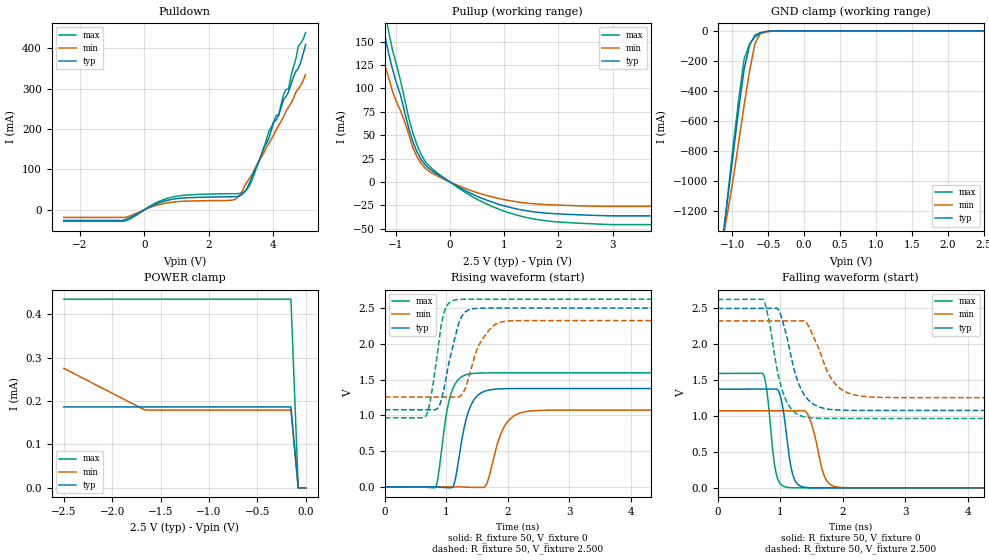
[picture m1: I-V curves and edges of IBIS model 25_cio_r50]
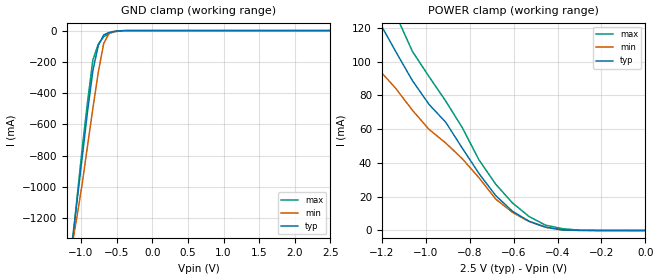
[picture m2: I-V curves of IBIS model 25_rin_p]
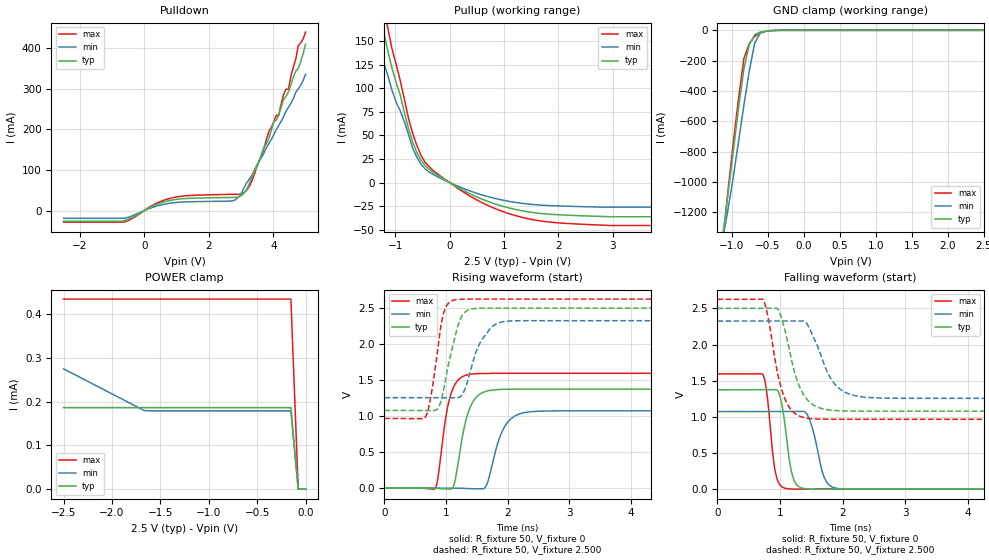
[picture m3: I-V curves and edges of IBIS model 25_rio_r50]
[IBIS Ver]   4.2
[File Name]  projekt_na_vhdl-a.ibs
[File Rev]   3.0
[Date]   July 09, 2019
[Source]   Altera Corporation
[Notes]   - The models are designated as "Final" and have been correlated against physical device operation.
   - This IBIS model is checked using IBISCHK v5.0.4
   There are no known errors and warnings reported.
   - There are no known limitations for this IBIS model release.
   - Contact point: Altera Corporation, http://www.altera.com/corporate/contact/con-index.html
   - This file is generated using Quartus II Version 18.1.0 Build 625 09/12/2018 SJ Lite Edition
   - Unused IOs which have been assigned as tri-stated inputs or as outputs driving any signal in Quartus II
   arerepresented by the NC.
   - Only general purpose IBIS models are supported.
   Revision History
   - v1.0
   - Initial release of MAX 10 IBIS models. Models are based on pre-layout and early engineering info.
   - v2.0
   - Models are based on post-layout, may be missing certain features.
   - v3.0
   - Models have undergone final correlation against physical device operation.
[Disclaimer] Data is for modeling purposes only and is not guaranteed.
[Copyright]  Copyright (C) 2018  Intel Corporation. All rights reserved.
[Component]  10M08DAF256C8G_projekt_na_vhdl-a
[Manufacturer] Altera Corporation
[Package]
| RLC values are for 256 FBGA package
| variable  typ   min   max
R_pkg   445m   318m   697m
L_pkg   3.71nH   3.07nH   6.14nH
C_pkg   1.00pF   0.87pF   1.64pF
[Pin] signal_name   model_name   R_pin   L_pin   C_pin
A1   GND   GND
A16   GND   GND
B14   GND   GND
B15   FASTER   25_rin_p   697.2m   5.572nH   1.598pF
B16   SLOWER   25_rin_p   692.4m   5.384nH   1.638pF
C11   GND   GND
C7   VCCIO8   POWER
C8   GND   GND
D10   VCCIO7   POWER
D11   VCCIO7   POWER
D13   VCCD_PLL2   POWER
D3   GND   GND
D5   VCCA3   POWER
D6   GND   GND
D7   VCCIO8   POWER
D8   VCCIO8   POWER
E12   VCCA2   POWER
E13   GND   GND
E5   VCCA_ADC   POWER
E6   GND   GND
F13   VCCIO6   POWER
F15   GND   GND
F16   INPUT[7]   25_rin_p   447.6m   3.682nH   0.995pF
F6   VCCINT   POWER
G10   GND   GND
G13   VCCIO6   POWER
G15   INPUT[5]   25_rin_p   318.1m   3.178nH   0.947pF
G16   INPUT[6]   25_rin_p   426.6m   3.599nH   0.951pF
G3   GND   GND
G4   VCCIO1A   POWER
G7   VCC   POWER
G8   GND   GND
G9   VCC   POWER
H10   VCC   POWER
H13   VCCIO6   POWER
H14   GND   GND
H15   INPUT[3]   25_rin_p   392.2m   3.711nH   0.977pF
H16   INPUT[4]   25_rin_p   430.1m   3.578nH   0.897pF
H4   VCCIO1A   POWER
H7   GND   GND
H8   VCC   POWER
H9   VCC   POWER
J1   V_SYNC   25_rio_r50_vref   467.4m   4.480nH   0.980pF
J10   GND   GND
J13   VCCIO6   POWER
J15   INPUT[1]   25_rin_p   346.1m   3.066nH   0.955pF
J16   INPUT[2]   25_rin_p   354.1m   3.589nH   0.874pF
J4   VCCIO1B   POWER
J7   VCC   POWER
J8   VCC   POWER
J9   VCC   POWER
K1   GND   GND
K10   VCC   POWER
K13   VCCIO5   POWER
K16   GND   GND
K3   GND   GND
K4   VCCIO2   POWER
K7   GND   GND
K8   VCC   POWER
K9   GND   GND
L1   H_SYNC   25_rio_r50   446.0m   3.420nH   1.040pF
L13   VCCIO5   POWER
L14   GND   GND
L16   INPUT[0]   25_rin_p   442.0m   4.301nH   0.998pF
L3   OSC_IN   25_rin_p   358.0m   3.293nH   1.187pF
L4   VCCIO2   POWER
L5   VCCA1   POWER
M1   RGB[2]   25_rio_r50_vref   474.8m   4.468nH   1.018pF
M12   VCCA4   POWER
M13   VCCIO5   POWER
M4   GND   GND
M5   VCCD_PLL1   POWER
N1   RGB[1]   25_rio_r50   510.1m   4.657nH   1.057pF
N10   VCCIO4   POWER
N11   VCCIO4   POWER
N12   GND   GND
N15   GND   GND
N6   VCCIO3   POWER
N7   VCCIO3   POWER
N8   VCCIO3   POWER
N9   GND   GND
P3   GND   GND
P7   GND   GND
R1   RGB[0]   25_cio_r50   604.7m   5.617nH   1.308pF
R13   GND   GND
R15   nRST   25_rin_p   692.6m   6.144nH   1.433pF
T1   GND   GND
T10   GND   GND
T16   GND   GND
| Models and submodels in the file (4): 25_cio_r50 (I/O), 25_rin_p (Input), 25_rio_r50 (I/O), 25_rio_r50_vref (I/O)
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|MODEL 25_cio_r50
[Model]   25_cio_r50
Model_type   I/O
Polarity   Non-Inverting
Enable Active-Low
Vinl   = 0.700
Vinh   = 1.700
Vmeas  = 1.250
Rref   = 10M
Cref   = 0pF
Vref   = 0.000
C_comp 4.5pF   4.5pF   4.5pF
[Model Spec]
Vinh   1.700   1.700   1.700
Vinl   0.700   0.700   0.700
[Temperature Range]   25   85   0
[Voltage Range]   2.500   2.325   2.625
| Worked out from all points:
|   slope of the pulldown table from 0 to 0.375 V, typ, clamps not added: 25.2 ohm
|   slope of the pullup table from 0 to 0.375 V, typ, clamps not added: 31.4 ohm
|   GND clamp passes 1 mA (typ) near -0.44 V on its own axis
|   rising waveform, R_fixture 50, V_fixture 0: 20-80 % time 199ps typ, 236ps min, 173ps max; typ from 0 V to 1.37 V
|   falling waveform, R_fixture 50, V_fixture 0: 20-80 % time 131ps typ, 173ps min, 112ps max; typ from 1.37 V to 0 V
|   rising waveform, R_fixture 50, V_fixture 2.500: 20-80 % time 219ps typ, 280ps min, 165ps max; typ from 1.08 V to 2.5 V
|   falling waveform, R_fixture 50, V_fixture 2.500: 20-80 % time 268ps typ, 330ps min, 229ps max; typ from 2.5 V to 1.08 V
[GND Clamp]
| voltage   I (typ)   I (min)   I (max)
-2.5V     -5.91A     -5.039A    -6.902A
-1.136V   -1.393A    -1.403A    -1.443A
-1.061V   -1.109A    -1.2A      -1.09A
-984.9mV  -816.5mA   -983.3mA   -759.1mA
-909.1mV  -519.5mA   -738.6mA   -457.9mA
-833.3mV  -255.4mA   -496mA     -186.8mA
-757.6mV  -94.85mA   -265.8mA   -87.18mA
-681.8mV  -28.16mA   -82.51mA   -39.36mA
-606.1mV  -11.9mA    -18.11mA   -18.07mA
-530.3mV  -4.732mA   -5.387mA   -7.206mA
-454.6mV  -1.272mA   -1.238mA   -2.74mA
2.5V      0A         0A         0A
[Pulldown]
| voltage   I (typ)   I (min)   I (max)
-2.5V     -26.09mA   -18.87mA   -28.49mA
-606.1mV  -24.69mA   -18.87mA   -27.68mA
833.3mV   25.48mA    18.54mA    30.82mA
2.727V    32.32mA    24.06mA    39.97mA
3.106V    43.99mA    58.19mA    45.13mA
3.333V    81.23mA    86.79mA    72.31mA
3.864V    178.1mA    165.1mA    195.2mA
4.167V    234.9mA    209.3mA    234.5mA
4.318V    273.2mA    231mA      285.5mA
4.47V     292mA      254mA      298.8mA
4.773V    350.2mA    299.3mA    405.3mA
5V        409.7mA    335.3mA    439.3mA
[Power Clamp]
| voltage   I (typ)   I (min)   I (max)
-2.5V     186.7uA    275.6uA    435.2uA
-1.667V   186.7uA    180uA      435.2uA
-151.5mV  186.7uA    179.1uA    435.2uA
-75.76mV  0A         0A         0A
0V        0A         0A         0A
[Pullup]
| voltage   I (typ)   I (min)   I (max)
-2.5V     446.5mA    339.8mA    511.4mA
-1.439V   205.9mA    164.2mA    236.5mA
-1.212V   159.5mA    126.8mA    188.4mA
-1.136V   139.7mA    113.4mA    163.4mA
-1.061V   121.2mA    97.68mA    141.8mA
-757.6mV  57.49mA    51.05mA    68.13mA
-606.1mV  32.16mA    27.11mA    39.62mA
-378.8mV  14mA       11.07mA    16.8mA
75.76mV   -2.646mA   -1.959mA   -3.15mA
833.3mV   -22.66mA   -16.84mA   -27.57mA
1.667V    -32.77mA   -23.89mA   -40.74mA
5V        -36.29mA   -26.08mA   -45.66mA
[Ramp]
dV/dt_r   8.247e-01/1.987e-10 6.439e-01/2.364e-10 9.565e-01/1.725e-10
dV/dt_f   8.530e-01/2.682e-10 6.414e-01/3.296e-10 9.953e-01/2.285e-10
R_load = 50ohms
[Rising Waveform]
R_fixture   = 50
V_fixture   = 0
V_fixture_min = 0
V_fixture_max = 0
| time   V (typ)   V (min)   V (max)
0s        48.43nV    294.7nV    73.35nV
826.5ps   -1.169mV   6.429uV    -1.713mV
868.9ps   -3.899mV   11.1uV     143.8mV
1.003ns   -11.19mV   59.41uV    1.021V
1.116ns   14.82mV    6.316uV    1.391V
1.342ns   1.002V     -7.805mV   1.572V
1.639ns   1.341V     13.22mV    1.593V
1.929ns   1.371V     817.7mV    1.594V
2.268ns   1.374V     1.048V     1.594V
7.057ns   1.375V     1.073V     1.594V
[Falling Waveform]
R_fixture   = 50
V_fixture   = 0
V_fixture_min = 0
V_fixture_max = 0
| time   V (typ)   V (min)   V (max)
0s        1.375V     1.073V     1.594V
730.7ps   1.375V     1.073V     1.578V
920.4ps   1.377V     1.073V     262.1mV
1.082ns   871mV      1.073V     12.19mV
1.173ns   282.7mV    1.073V     2.214mV
1.265ns   64.15mV    1.074V     418.9uV
1.44ns    3.582mV    1.022V     18.07uV
1.7ns     56.36uV    177.4mV    550.6nV
1.897ns   2.454uV    13.34mV    326.9nV
7.019ns   1.355uV    1.21uV     1.593uV
[Rising Waveform]
R_fixture   = 50
V_fixture   = 2.500
V_fixture_min   = 2.325
V_fixture_max   = 2.625
| time   V (typ)   V (min)   V (max)
0s        1.078V     1.256V     966mV
671.1ps   1.078V     1.256V     994.4mV
755.9ps   1.076V     1.256V     1.278V
868.9ps   1.106V     1.256V     1.957V
946.6ps   1.307V     1.255V     2.382V
1.13ns    2.043V     1.252V     2.611V
1.328ns   2.458V     1.423V     2.624V
1.561ns   2.498V     2.03V      2.625V
1.907ns   2.5V       2.308V     2.625V
7.057ns   2.5V       2.325V     2.625V
[Falling Waveform]
R_fixture   = 50
V_fixture   = 2.500
V_fixture_min   = 2.325
V_fixture_max   = 2.625
| time   V (typ)   V (min)   V (max)
0s        2.5V       2.325V     2.625V
730.7ps   2.5V       2.325V     2.618V
815ps     2.5V       2.325V     2.35V
955.5ps   2.497V     2.325V     1.625V
1.047ns   2.297V     2.325V     1.32V
1.237ns   1.604V     2.325V     1.048V
1.363ns   1.327V     2.326V     994.9mV
1.834ns   1.09V      1.5V       966.6mV
2.199ns   1.079V     1.293V     966.1mV
7.019ns   1.078V     1.256V     966mV
|MODEL 25_rin_p
[Model]   25_rin_p
Model_type   Input
Polarity   Non-Inverting
Vinl   = 0.700
Vinh   = 1.700
C_comp 4.5pF   4.5pF   4.5pF
[Model Spec]
Vinh   1.700   1.700   1.700
Vinl   0.700   0.700   0.700
[Temperature Range]   25   85   0
[Voltage Range]   2.500   2.325   2.625
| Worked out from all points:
|   GND clamp passes 1 mA (typ) near -0.44 V on its own axis
|   POWER clamp passes 1 mA (typ) near -0.41 V on its own axis
[GND Clamp]
| voltage   I (typ)   I (min)   I (max)
-2.5V     -5.91A     -5.039A    -6.902A
-1.136V   -1.393A    -1.403A    -1.443A
-1.061V   -1.109A    -1.2A      -1.09A
-984.9mV  -816.5mA   -983.3mA   -759.1mA
-909.1mV  -519.5mA   -738.6mA   -457.9mA
-833.3mV  -255.4mA   -496mA     -186.8mA
-757.6mV  -94.85mA   -265.8mA   -87.18mA
-681.8mV  -28.16mA   -82.51mA   -39.36mA
-606.1mV  -11.9mA    -18.11mA   -18.07mA
-530.3mV  -4.732mA   -5.387mA   -7.206mA
-454.6mV  -1.272mA   -1.238mA   -2.74mA
2.5V      0A         0A         0A
[Power Clamp]
| voltage   I (typ)   I (min)   I (max)
-2.5V     372.2mA    280.2mA    435mA
-1.439V   164.7mA    127.5mA    191.3mA
-1.364V   144.9mA    115mA      171.2mA
-1.212V   123.6mA    95.04mA    146.3mA
-1.136V   105.9mA    84.14mA    127.9mA
-984.9mV  74.66mA    59.86mA    91.08mA
-909.1mV  64.11mA    51.82mA    76.67mA
-757.6mV  33.71mA    31.2mA     41.77mA
-681.8mV  20.74mA    18.64mA    27.47mA
-530.3mV  5.533mA    5.322mA    8.311mA
-378.8mV  308.8uA    378.5uA    1.08mA
0V        0A         0A         0A
|MODEL 25_rio_r50
[Model]   25_rio_r50
Model_type   I/O
Polarity   Non-Inverting
Enable Active-Low
Vinl   = 0.700
Vinh   = 1.700
Vmeas  = 1.250
Rref   = 10M
Cref   = 0pF
Vref   = 0.000
C_comp 4.5pF   4.5pF   4.5pF
[Model Spec]
Vinh   1.700   1.700   1.700
Vinl   0.700   0.700   0.700
[Temperature Range]   25   85   0
[Voltage Range]   2.500   2.325   2.625
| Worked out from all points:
|   slope of the pulldown table from 0 to 0.375 V, typ, clamps not added: 25.2 ohm
|   slope of the pullup table from 0 to 0.375 V, typ, clamps not added: 31.4 ohm
|   GND clamp passes 1 mA (typ) near -0.44 V on its own axis
|   rising waveform, R_fixture 50, V_fixture 0: 20-80 % time 199ps typ, 236ps min, 173ps max; typ from 0 V to 1.37 V
|   falling waveform, R_fixture 50, V_fixture 0: 20-80 % time 131ps typ, 173ps min, 112ps max; typ from 1.37 V to 0 V
|   rising waveform, R_fixture 50, V_fixture 2.500: 20-80 % time 219ps typ, 280ps min, 165ps max; typ from 1.08 V to 2.5 V
|   falling waveform, R_fixture 50, V_fixture 2.500: 20-80 % time 268ps typ, 330ps min, 229ps max; typ from 2.5 V to 1.08 V
[GND Clamp]
| voltage   I (typ)   I (min)   I (max)
-2.5V     -5.9A      -5.032A    -6.888A
-1.136V   -1.391A    -1.401A    -1.44A
-1.061V   -1.107A    -1.198A    -1.088A
-984.9mV  -815mA     -981.8mA   -757.7mA
-909.1mV  -518.6mA   -737.4mA   -457.2mA
-833.3mV  -255mA     -495.3mA   -186.5mA
-757.6mV  -94.81mA   -265.4mA   -87.08mA
-681.8mV  -28.16mA   -82.48mA   -39.35mA
-606.1mV  -11.9mA    -18.11mA   -18.07mA
-530.3mV  -4.732mA   -5.387mA   -7.205mA
-454.6mV  -1.272mA   -1.238mA   -2.74mA
2.5V      0A         0A         0A
[Pulldown]
| voltage   I (typ)   I (min)   I (max)
-2.5V     -26.09mA   -18.87mA   -28.48mA
-606.1mV  -24.68mA   -18.87mA   -27.68mA
833.3mV   25.48mA    18.54mA    30.82mA
2.727V    32.32mA    24.06mA    39.97mA
3.106V    43.99mA    58.19mA    45.13mA
3.333V    81.23mA    86.79mA    72.31mA
3.864V    178.2mA    165.1mA    195.2mA
4.167V    234.9mA    209.3mA    234.5mA
4.318V    273.2mA    231mA      285.6mA
4.47V     292mA      254mA      298.8mA
4.773V    350.2mA    299.3mA    405.3mA
5V        409.7mA    335.3mA    439.3mA
[Power Clamp]
| voltage   I (typ)   I (min)   I (max)
-2.5V     186.7uA    275.6uA    435.2uA
-1.667V   186.7uA    180uA      435.2uA
-151.5mV  186.7uA    179.1uA    435.2uA
-75.76mV  0A         0A         0A
0V        0A         0A         0A
[Pullup]
| voltage   I (typ)   I (min)   I (max)
-2.5V     446.5mA    339.8mA    511.4mA
-1.439V   205.9mA    164.2mA    236.5mA
-1.212V   159.5mA    126.8mA    188.4mA
-1.136V   139.7mA    113.4mA    163.4mA
-1.061V   121.2mA    97.68mA    141.8mA
-757.6mV  57.5mA     51.05mA    68.13mA
-606.1mV  32.16mA    27.11mA    39.62mA
-378.8mV  14mA       11.07mA    16.8mA
75.76mV   -2.646mA   -1.959mA   -3.15mA
833.3mV   -22.66mA   -16.84mA   -27.57mA
1.667V    -32.77mA   -23.89mA   -40.74mA
5V        -36.29mA   -26.08mA   -45.66mA
[Ramp]
dV/dt_r   8.247e-01/1.988e-10 6.439e-01/2.364e-10 9.565e-01/1.726e-10
dV/dt_f   8.530e-01/2.682e-10 6.414e-01/3.296e-10 9.953e-01/2.286e-10
R_load = 50ohms
[Rising Waveform]
R_fixture   = 50
V_fixture   = 0
V_fixture_min = 0
V_fixture_max = 0
| time   V (typ)   V (min)   V (max)
0s        48.43nV    294.7nV    73.35nV
826.5ps   -1.168mV   6.429uV    -1.762mV
868.9ps   -3.892mV   11.1uV     143.6mV
1.003ns   -11.17mV   59.41uV    1.02V
1.116ns   14.69mV    6.339uV    1.391V
1.342ns   1.002V     -7.791mV   1.572V
1.639ns   1.341V     13.13mV    1.593V
1.929ns   1.371V     817.7mV    1.594V
2.268ns   1.374V     1.048V     1.594V
7.057ns   1.375V     1.073V     1.594V
[Falling Waveform]
R_fixture   = 50
V_fixture   = 0
V_fixture_min = 0
V_fixture_max = 0
| time   V (typ)   V (min)   V (max)
0s        1.375V     1.073V     1.594V
730.7ps   1.375V     1.073V     1.578V
920.4ps   1.377V     1.073V     262.2mV
1.082ns   871.6mV    1.073V     12.26mV
1.173ns   283.1mV    1.073V     2.226mV
1.265ns   64.27mV    1.074V     414.1uV
1.44ns    3.576mV    1.023V     18.63uV
1.7ns     55.25uV    177.6mV    98.65nV
1.89ns    3.039uV    14.65mV    55.7nV
7.019ns   689.9nV    -75.94nV   676.4nV
[Rising Waveform]
R_fixture   = 50
V_fixture   = 2.500
V_fixture_min   = 2.325
V_fixture_max   = 2.625
| time   V (typ)   V (min)   V (max)
0s        1.078V     1.256V     966mV
671.1ps   1.078V     1.256V     994.4mV
755.9ps   1.076V     1.256V     1.278V
868.9ps   1.106V     1.256V     1.957V
946.6ps   1.306V     1.256V     2.382V
1.123ns   2.017V     1.252V     2.61V
1.321ns   2.454V     1.405V     2.624V
1.561ns   2.498V     2.03V      2.625V
1.914ns   2.5V       2.309V     2.625V
7.057ns   2.5V       2.325V     2.625V
[Falling Waveform]
R_fixture   = 50
V_fixture   = 2.500
V_fixture_min   = 2.325
V_fixture_max   = 2.625
| time   V (typ)   V (min)   V (max)
0s        2.5V       2.325V     2.625V
730.7ps   2.5V       2.325V     2.618V
815ps     2.5V       2.325V     2.35V
955.5ps   2.497V     2.325V     1.626V
1.047ns   2.297V     2.325V     1.32V
1.229ns   1.626V     2.325V     1.053V
1.356ns   1.338V     2.326V     996.6mV
1.841ns   1.09V      1.492V     966.6mV
2.213ns   1.079V     1.29V      966.1mV
7.019ns   1.078V     1.256V     966mV
